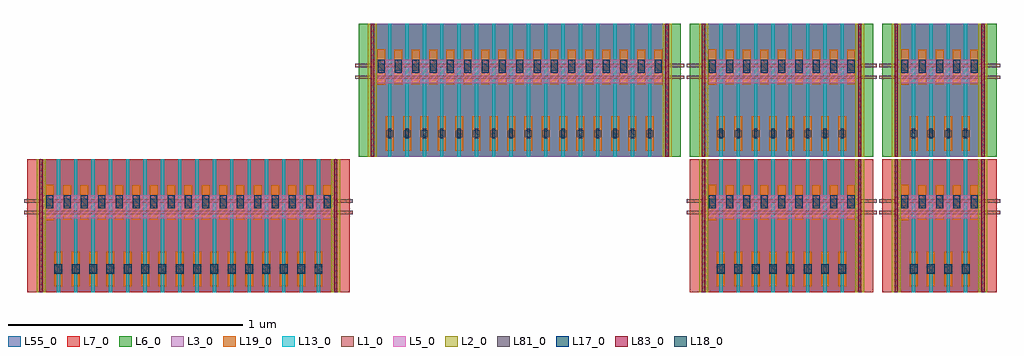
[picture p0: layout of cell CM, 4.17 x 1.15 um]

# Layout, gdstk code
import gdstk
lib = gdstk.Library(unit=1e-6, precision=1e-09)
def R(c, l, rs):  # rectangles x0, y0, x1, y1
    for r in rs: c.add(gdstk.rectangle(r[:2], r[2:], *l))
L1_0 = (1, 0)
L2_0 = (2, 0)
L3_0 = (3, 0)
L5_0 = (5, 0)
L6_0 = (6, 0)
L7_0 = (7, 0)
L13_0 = (13, 0)
L17_0 = (17, 0)
L18_0 = (18, 0)
L19_0 = (19, 0)
L55_0 = (55, 0)
L81_0 = (81, 0)
L83_0 = (83, 0)

nfet_pcell_acef = lib.new_cell('nfet_pcell_acef')
R(nfet_pcell_acef, L1_0, [(-0.14,0,0.154,0.014), (-0.14,0.05,0.154,0.064)])
R(nfet_pcell_acef, L2_0, [(-0.086,-0.333,-0.048,0.235)])
R(nfet_pcell_acef, L5_0, [(-0.067,-0.018,0,0.082), (0,-0.018,0.014,0.082), (0.014,-0.018,0.069,0.082)])
R(nfet_pcell_acef, L7_0, [(-0.126,-0.333,0.14,0.235)])
R(nfet_pcell_acef, L13_0, [(-0.074,-0.333,-0.06,0.235), (-0.074,-0.333,-0.06,0.235), (0,-0.333,0.014,0.235)])
R(nfet_pcell_acef, L17_0, [(-0.045,0.025,-0.015,0.082), (0.029,0.025,0.059,0.082)])
R(nfet_pcell_acef, L18_0, [(-0.01,-0.254,0.024,-0.214)])
R(nfet_pcell_acef, L19_0, [(-0.01,-0.308,0.024,-0.16), (-0.01,-0.308,0.024,-0.16), (-0.047,-0.026,-0.013,0.126), (-0.047,-0.024,-0.013,0.124), (0.027,-0.024,0.061,0.124), (0.027,-0.02,0.061,0.12)])
R(nfet_pcell_acef, L55_0, [(-0.067,-0.333,0.081,0.235)])
R(nfet_pcell_acef, L81_0, [(-0.008,-0.249,0.022,-0.219), (-0.045,0.035,-0.015,0.065), (0.029,0.035,0.059,0.065)])
R(nfet_pcell_acef, L83_0, [(-0.074,-0.333,-0.06,0.235)])

nfet_pcell_66c6 = lib.new_cell('nfet_pcell_66c6')
R(nfet_pcell_66c6, L1_0, [(-0.14,0,0.154,0.014), (-0.14,0.05,0.154,0.064)])
R(nfet_pcell_66c6, L5_0, [(-0.005,-0.018,0,0.082), (0,-0.018,0.014,0.082), (0.014,-0.018,0.069,0.082)])
R(nfet_pcell_66c6, L7_0, [(-0.126,-0.333,0.14,0.235)])
R(nfet_pcell_66c6, L13_0, [(0,-0.333,0.014,0.235)])
R(nfet_pcell_66c6, L17_0, [(0.029,0.025,0.059,0.082)])
R(nfet_pcell_66c6, L18_0, [(-0.01,-0.254,0.024,-0.214)])
R(nfet_pcell_66c6, L19_0, [(-0.01,-0.308,0.024,-0.16), (-0.01,-0.308,0.024,-0.16), (0.027,-0.024,0.061,0.124), (0.027,-0.02,0.061,0.12)])
R(nfet_pcell_66c6, L55_0, [(-0.067,-0.333,0.081,0.235)])
R(nfet_pcell_66c6, L81_0, [(-0.008,-0.249,0.022,-0.219), (0.029,0.035,0.059,0.065)])

nfet_pcell_9fc7 = lib.new_cell('nfet_pcell_9fc7')
R(nfet_pcell_9fc7, L1_0, [(-0.14,0,0.154,0.014), (-0.14,0.05,0.154,0.064)])
R(nfet_pcell_9fc7, L2_0, [(0.062,-0.333,0.1,0.235)])
R(nfet_pcell_9fc7, L5_0, [(-0.005,-0.018,0,0.082), (0,-0.018,0.014,0.082), (0.014,-0.018,0.081,0.082)])
R(nfet_pcell_9fc7, L7_0, [(-0.126,-0.333,0.14,0.235)])
R(nfet_pcell_9fc7, L13_0, [(0,-0.333,0.014,0.235), (0.074,-0.333,0.088,0.235), (0.074,-0.333,0.088,0.235)])
R(nfet_pcell_9fc7, L17_0, [(0.029,0.025,0.059,0.082)])
R(nfet_pcell_9fc7, L18_0, [(-0.01,-0.254,0.024,-0.214)])
R(nfet_pcell_9fc7, L19_0, [(-0.01,-0.308,0.024,-0.16), (-0.01,-0.308,0.024,-0.16), (0.027,-0.024,0.061,0.124), (0.027,-0.02,0.061,0.12)])
R(nfet_pcell_9fc7, L55_0, [(-0.067,-0.333,0.081,0.235)])
R(nfet_pcell_9fc7, L81_0, [(-0.008,-0.249,0.022,-0.219), (0.029,0.035,0.059,0.065)])
R(nfet_pcell_9fc7, L83_0, [(0.074,-0.333,0.088,0.235)])

pfet_pcell_eb9b = lib.new_cell('pfet_pcell_eb9b')
R(pfet_pcell_eb9b, L1_0, [(-0.14,0,0.154,0.014), (-0.14,0.05,0.154,0.064)])
R(pfet_pcell_eb9b, L2_0, [(-0.086,-0.333,-0.048,0.235)])
R(pfet_pcell_eb9b, L3_0, [(-0.067,-0.333,0.081,0.235)])
R(pfet_pcell_eb9b, L5_0, [(-0.067,-0.018,0,0.082), (0,-0.018,0.014,0.082), (0.014,-0.018,0.069,0.082)])
R(pfet_pcell_eb9b, L6_0, [(-0.126,-0.333,0.14,0.235)])
R(pfet_pcell_eb9b, L13_0, [(-0.074,-0.333,-0.06,0.235), (-0.074,-0.333,-0.06,0.235), (0,-0.333,0.014,0.235)])
R(pfet_pcell_eb9b, L17_0, [(-0.045,0.025,-0.015,0.082), (0.029,0.025,0.059,0.082)])
R(pfet_pcell_eb9b, L18_0, [(0,-0.254,0.014,-0.214)])
R(pfet_pcell_eb9b, L19_0, [(-0.01,-0.308,0.024,-0.16), (-0.01,-0.308,0.024,-0.16), (-0.047,-0.026,-0.013,0.126), (-0.047,-0.024,-0.013,0.124), (0.027,-0.024,0.061,0.124), (0.027,-0.02,0.061,0.12)])
R(pfet_pcell_eb9b, L55_0, [(-0.067,-0.333,0.081,0.235)])
R(pfet_pcell_eb9b, L81_0, [(-0.008,-0.249,0.022,-0.219), (-0.045,0.035,-0.015,0.065), (0.029,0.035,0.059,0.065)])
R(pfet_pcell_eb9b, L83_0, [(-0.074,-0.333,-0.06,0.235)])

pfet_pcell_b398 = lib.new_cell('pfet_pcell_b398')
R(pfet_pcell_b398, L1_0, [(-0.14,0,0.154,0.014), (-0.14,0.05,0.154,0.064)])
R(pfet_pcell_b398, L3_0, [(-0.067,-0.333,0.081,0.235)])
R(pfet_pcell_b398, L5_0, [(-0.005,-0.018,0,0.082), (0,-0.018,0.014,0.082), (0.014,-0.018,0.069,0.082)])
R(pfet_pcell_b398, L6_0, [(-0.126,-0.333,0.14,0.235)])
R(pfet_pcell_b398, L13_0, [(0,-0.333,0.014,0.235)])
R(pfet_pcell_b398, L17_0, [(0.029,0.025,0.059,0.082)])
R(pfet_pcell_b398, L18_0, [(0,-0.254,0.014,-0.214)])
R(pfet_pcell_b398, L19_0, [(-0.01,-0.308,0.024,-0.16), (-0.01,-0.308,0.024,-0.16), (0.027,-0.024,0.061,0.124), (0.027,-0.02,0.061,0.12)])
R(pfet_pcell_b398, L55_0, [(-0.067,-0.333,0.081,0.235)])
R(pfet_pcell_b398, L81_0, [(-0.008,-0.249,0.022,-0.219), (0.029,0.035,0.059,0.065)])

pfet_pcell_af94 = lib.new_cell('pfet_pcell_af94')
R(pfet_pcell_af94, L1_0, [(-0.14,0,0.154,0.014), (-0.14,0.05,0.154,0.064)])
R(pfet_pcell_af94, L2_0, [(0.062,-0.333,0.1,0.235)])
R(pfet_pcell_af94, L3_0, [(-0.067,-0.333,0.081,0.235)])
R(pfet_pcell_af94, L5_0, [(-0.005,-0.018,0,0.082), (0,-0.018,0.014,0.082), (0.014,-0.018,0.081,0.082)])
R(pfet_pcell_af94, L6_0, [(-0.126,-0.333,0.14,0.235)])
R(pfet_pcell_af94, L13_0, [(0,-0.333,0.014,0.235), (0.074,-0.333,0.088,0.235), (0.074,-0.333,0.088,0.235)])
R(pfet_pcell_af94, L17_0, [(0.029,0.025,0.059,0.082)])
R(pfet_pcell_af94, L18_0, [(0,-0.254,0.014,-0.214)])
R(pfet_pcell_af94, L19_0, [(-0.01,-0.308,0.024,-0.16), (-0.01,-0.308,0.024,-0.16), (0.027,-0.024,0.061,0.124), (0.027,-0.02,0.061,0.12)])
R(pfet_pcell_af94, L55_0, [(-0.067,-0.333,0.081,0.235)])
R(pfet_pcell_af94, L81_0, [(-0.008,-0.249,0.022,-0.219), (0.029,0.035,0.059,0.065)])
R(pfet_pcell_af94, L83_0, [(0.074,-0.333,0.088,0.235)])

c_cm = lib.new_cell('CM')
c_cm.add(gdstk.Reference(nfet_pcell_acef, (3.8,-0.823)))
c_cm.add(gdstk.Reference(nfet_pcell_acef, (2.978,-0.823)))
c_cm.add(gdstk.Reference(nfet_pcell_acef, (0.15,-0.823)))
c_cm.add(gdstk.Reference(nfet_pcell_66c6, (1.186,-0.823)))
c_cm.add(gdstk.Reference(nfet_pcell_66c6, (1.112,-0.823)))
c_cm.add(gdstk.Reference(nfet_pcell_66c6, (1.038,-0.823)))
c_cm.add(gdstk.Reference(nfet_pcell_66c6, (0.964,-0.823)))
c_cm.add(gdstk.Reference(nfet_pcell_66c6, (0.89,-0.823)))
c_cm.add(gdstk.Reference(nfet_pcell_66c6, (0.816,-0.823)))
c_cm.add(gdstk.Reference(nfet_pcell_66c6, (0.742,-0.823)))
c_cm.add(gdstk.Reference(nfet_pcell_66c6, (0.668,-0.823)))
c_cm.add(gdstk.Reference(nfet_pcell_66c6, (0.594,-0.823)))
c_cm.add(gdstk.Reference(nfet_pcell_66c6, (0.52,-0.823)))
c_cm.add(gdstk.Reference(nfet_pcell_66c6, (0.446,-0.823)))
c_cm.add(gdstk.Reference(nfet_pcell_66c6, (3.874,-0.823)))
c_cm.add(gdstk.Reference(nfet_pcell_66c6, (3.948,-0.823)))
c_cm.add(gdstk.Reference(nfet_pcell_66c6, (0.224,-0.823)))
c_cm.add(gdstk.Reference(nfet_pcell_66c6, (3.052,-0.823)))
c_cm.add(gdstk.Reference(nfet_pcell_66c6, (3.126,-0.823)))
c_cm.add(gdstk.Reference(nfet_pcell_66c6, (0.298,-0.823)))
c_cm.add(gdstk.Reference(nfet_pcell_66c6, (3.2,-0.823)))
c_cm.add(gdstk.Reference(nfet_pcell_66c6, (3.274,-0.823)))
c_cm.add(gdstk.Reference(nfet_pcell_66c6, (0.372,-0.823)))
c_cm.add(gdstk.Reference(nfet_pcell_66c6, (3.348,-0.823)))
c_cm.add(gdstk.Reference(nfet_pcell_66c6, (3.422,-0.823)))
c_cm.add(gdstk.Reference(nfet_pcell_9fc7, (1.26,-0.823)))
c_cm.add(gdstk.Reference(nfet_pcell_9fc7, (4.022,-0.823)))
c_cm.add(gdstk.Reference(nfet_pcell_9fc7, (3.496,-0.823)))
c_cm.add(gdstk.Reference(pfet_pcell_eb9b, (1.564,-0.245)))
c_cm.add(gdstk.Reference(pfet_pcell_eb9b, (2.978,-0.245)))
c_cm.add(gdstk.Reference(pfet_pcell_eb9b, (3.8,-0.245)))
c_cm.add(gdstk.Reference(pfet_pcell_b398, (2.6,-0.245)))
c_cm.add(gdstk.Reference(pfet_pcell_b398, (2.526,-0.245)))
c_cm.add(gdstk.Reference(pfet_pcell_b398, (2.452,-0.245)))
c_cm.add(gdstk.Reference(pfet_pcell_b398, (2.378,-0.245)))
c_cm.add(gdstk.Reference(pfet_pcell_b398, (2.304,-0.245)))
c_cm.add(gdstk.Reference(pfet_pcell_b398, (2.23,-0.245)))
c_cm.add(gdstk.Reference(pfet_pcell_b398, (2.156,-0.245)))
c_cm.add(gdstk.Reference(pfet_pcell_b398, (2.082,-0.245)))
c_cm.add(gdstk.Reference(pfet_pcell_b398, (2.008,-0.245)))
c_cm.add(gdstk.Reference(pfet_pcell_b398, (1.934,-0.245)))
c_cm.add(gdstk.Reference(pfet_pcell_b398, (1.86,-0.245)))
c_cm.add(gdstk.Reference(pfet_pcell_b398, (1.786,-0.245)))
c_cm.add(gdstk.Reference(pfet_pcell_b398, (1.712,-0.245)))
c_cm.add(gdstk.Reference(pfet_pcell_b398, (1.638,-0.245)))
c_cm.add(gdstk.Reference(pfet_pcell_b398, (3.422,-0.245)))
c_cm.add(gdstk.Reference(pfet_pcell_b398, (3.348,-0.245)))
c_cm.add(gdstk.Reference(pfet_pcell_b398, (3.274,-0.245)))
c_cm.add(gdstk.Reference(pfet_pcell_b398, (3.2,-0.245)))
c_cm.add(gdstk.Reference(pfet_pcell_b398, (3.126,-0.245)))
c_cm.add(gdstk.Reference(pfet_pcell_b398, (3.052,-0.245)))
c_cm.add(gdstk.Reference(pfet_pcell_b398, (3.948,-0.245)))
c_cm.add(gdstk.Reference(pfet_pcell_b398, (3.874,-0.245)))
c_cm.add(gdstk.Reference(pfet_pcell_af94, (2.674,-0.245)))
c_cm.add(gdstk.Reference(pfet_pcell_af94, (3.496,-0.245)))
c_cm.add(gdstk.Reference(pfet_pcell_af94, (4.022,-0.245)))

lib.write_gds('CM.gds')
